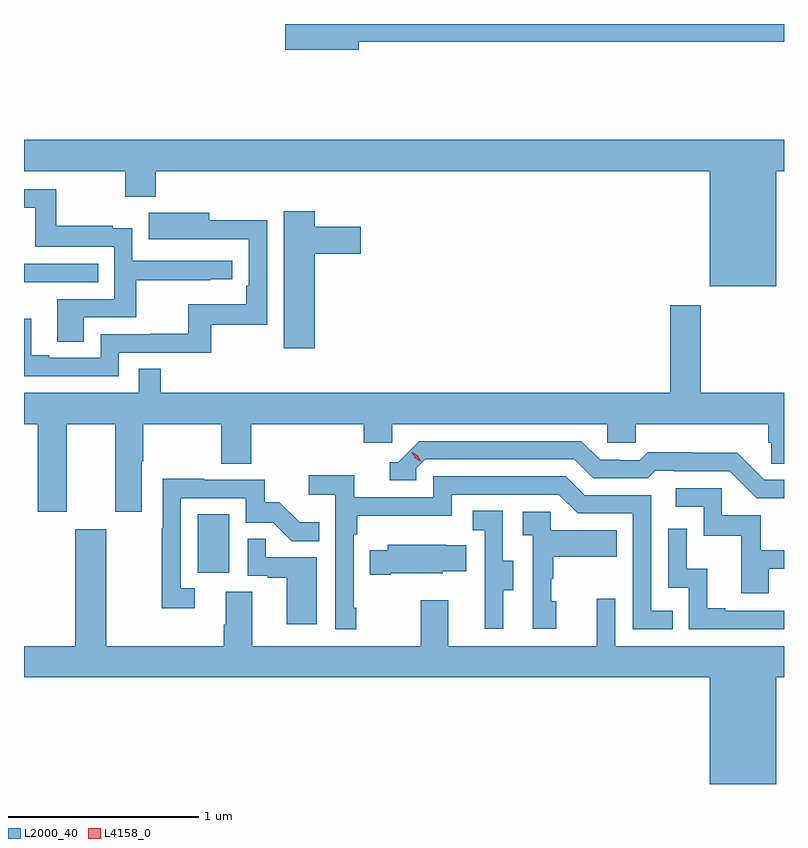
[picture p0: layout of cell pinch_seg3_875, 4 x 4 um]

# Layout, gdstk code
import gdstk
lib = gdstk.Library(unit=1e-6, precision=1e-09)
def R(c, l, rs):  # rectangles x0, y0, x1, y1
    for r in rs: c.add(gdstk.rectangle(r[:2], r[2:], *l))
def P(c, l, *ps):  # polygons
    for p in ps: c.add(gdstk.Polygon(p, *l))
L2000_40 = (2000, 40)
L4158_0 = (4158, 0)

pinch_seg3_875 = lib.new_cell('pinch_seg3_875')
R(pinch_seg3_875, L2000_40, [(880.604,705.462,880.768,705.769), (879.689,706.992,880.079,707.088)])
P(pinch_seg3_875, L2000_40, [(881.452,708.256),(883.689,708.256),(883.689,708.35),(881.064,708.35),(881.064,708.214),(881.452,708.214)],
  [(883.648,707.576),(883.689,707.576),(883.689,707.74),(879.689,707.74),(879.689,707.576),(880.222,707.576),(880.222,707.441),(880.382,707.441),(880.382,707.576),(883.298,707.576),(883.298,706.97),(883.648,706.97)],
  [(880.003,706.806),(880.28,706.806),(880.28,707.002),(880.673,707.002),(880.673,707.007),(880.786,707.007),(880.786,707.103),(880.26,707.103),(880.26,707.275),(880.157,707.275),(880.157,707.287),(879.859,707.287),(879.859,707.481),(879.689,707.481),(879.689,707.384),(879.748,707.384),(879.748,707.178),(880.164,707.178),(880.164,706.902),(879.863,706.902),(879.863,706.678),(880.003,706.678)],
  [(881.218,707.141),(881.461,707.141),(881.461,707.283),(881.218,707.283),(881.218,707.365),(881.057,707.365),(881.057,706.644),(881.218,706.644)],
  [(880.188,706.62),(880.675,706.62),(880.675,706.767),(880.968,706.767),(880.968,707.318),(880.663,707.318),(880.663,707.356),(880.345,707.356),(880.345,707.216),(880.559,707.216),(880.559,707.217),(880.872,707.217),(880.872,706.972),(880.859,706.972),(880.859,706.876),(880.554,706.876),(880.554,706.721),(880.357,706.721),(880.357,706.716),(880.092,706.716),(880.092,706.593),(879.823,706.593),(879.823,706.606),(879.727,706.606),(879.727,706.799),(879.689,706.799),(879.689,706.497),(880.188,706.497)],
  [(879.913,706.244),(880.169,706.244),(880.169,705.783),(880.309,705.783),(880.309,706.048),(880.317,706.048),(880.317,706.244),(880.726,706.244),(880.726,706.036),(880.886,706.036),(880.886,706.244),(881.477,706.244),(881.477,706.146),(881.628,706.146),(881.628,706.244),(882.759,706.244),(882.759,706.146),(882.909,706.146),(882.909,706.244),(883.607,706.244),(883.607,706.146),(883.621,706.146),(883.621,706.036),(883.689,706.036),(883.689,706.408),(883.251,706.408),(883.251,706.87),(883.091,706.87),(883.091,706.408),(880.409,706.408),(880.409,706.535),(880.293,706.535),(880.293,706.408),(879.689,706.408),(879.689,706.244),(879.761,706.244),(879.761,705.783),(879.913,705.783)],
  [(883.689,705.951),(883.584,705.951),(883.442,706.093),(883.206,706.093),(883.206,706.096),(882.973,706.096),(882.931,706.053),(882.828,706.053),(882.828,706.056),(882.721,706.056),(882.622,706.155),(881.769,706.155),(881.658,706.044),(881.615,706.044),(881.615,705.948),(881.754,705.948),(881.754,706.011),(881.802,706.059),(882.585,706.059),(882.684,705.96),(882.973,705.96),(883.012,705.999),(883.111,705.999),(883.111,705.996),(883.404,705.996),(883.545,705.855),(883.689,705.855)],
  [(881.437,705.277),(881.424,705.277),(881.424,705.665),(881.444,705.665),(881.444,705.761),(881.94,705.761),(881.94,705.873),(882.504,705.873),(882.603,705.774),(882.894,705.774),(882.894,705.165),(883.103,705.165),(883.103,705.261),(882.99,705.261),(882.99,705.87),(882.64,705.87),(882.541,705.969),(881.844,705.969),(881.844,705.858),(881.426,705.858),(881.426,705.974),(881.187,705.974),(881.187,705.872),(881.328,705.872),(881.328,705.165),(881.437,705.165)],
  [(880.588,705.381),(880.515,705.381),(880.515,705.855),(880.857,705.855),(880.857,705.726),(881.001,705.726),(881.099,705.628),(881.243,705.628),(881.243,705.727),(881.139,705.727),(881.032,705.834),(880.956,705.834),(880.956,705.951),(880.637,705.951),(880.637,705.956),(880.419,705.956),(880.419,705.695),(880.414,705.695),(880.414,705.276),(880.588,705.276)],
  [(883.609,705.483),(883.689,705.483),(883.689,705.579),(883.567,705.579),(883.567,705.765),(883.362,705.765),(883.362,705.906),(883.119,705.906),(883.119,705.81),(883.266,705.81),(883.266,705.657),(883.465,705.657),(883.465,705.354),(883.609,705.354)],
  [(882.211,705.37),(882.265,705.37),(882.265,705.525),(882.21,705.525),(882.21,705.788),(882.051,705.788),(882.051,705.685),(882.114,705.685),(882.114,705.381),(882.113,705.381),(882.113,705.168),(882.211,705.168)],
  [(882.49,705.312),(882.465,705.312),(882.465,705.431),(882.475,705.431),(882.475,705.545),(882.809,705.545),(882.809,705.685),(882.462,705.685),(882.462,705.783),(882.315,705.783),(882.315,705.659),(882.366,705.659),(882.366,705.168),(882.49,705.168)],
  [(883.689,705.261),(883.381,705.261),(883.381,705.274),(883.286,705.274),(883.286,705.482),(883.176,705.482),(883.176,705.694),(883.08,705.694),(883.08,705.384),(883.188,705.384),(883.188,705.165),(883.689,705.165)],
  [(883.648,704.912),(883.689,704.912),(883.689,705.076),(882.801,705.076),(882.801,705.325),(882.704,705.325),(882.704,705.076),(881.923,705.076),(881.923,705.316),(881.776,705.316),(881.776,705.076),(880.891,705.076),(880.891,705.362),(880.751,705.362),(880.751,705.188),(880.739,705.188),(880.739,705.076),(880.123,705.076),(880.123,705.691),(879.959,705.691),(879.959,705.076),(879.689,705.076),(879.689,704.912),(883.298,704.912),(883.298,704.35),(883.648,704.35)],
  [(881.23,705.543),(880.961,705.543),(880.961,705.641),(880.866,705.641),(880.866,705.447),(880.973,705.447),(880.973,705.435),(881.072,705.435),(881.072,705.192),(881.23,705.192)],
  [(881.62,705.458),(881.892,705.458),(881.892,705.47),(882.017,705.47),(882.017,705.607),(881.909,705.607),(881.909,705.61),(881.603,705.61),(881.603,705.58),(881.509,705.58),(881.509,705.451),(881.62,705.451)])
P(pinch_seg3_875, L4158_0, [(881.779,706.046),(881.748,706.065),(881.731,706.097),(881.731,706.097),(881.732,706.097),(881.762,706.078),(881.779,706.046),(881.779,706.046)])

lib.write_gds('pinch_seg3_875.gds')
